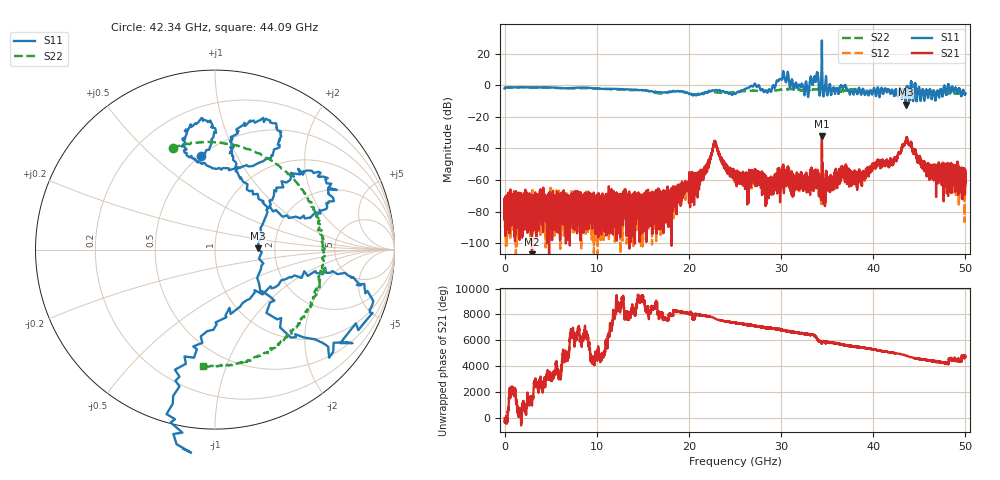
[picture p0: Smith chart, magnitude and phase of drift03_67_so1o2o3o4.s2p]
!Created with skrf (http://scikit-rf.org).
# Hz S RI R 50.0
!freq ReS11 ImS11 ReS21 ImS21 ReS12 ImS12 ReS22 ImS22
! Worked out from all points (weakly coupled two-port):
!   10000 points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, 5.3 MHz to 50 GHz, reference 50 ohm
!   highest |S21| = -32.28 dB at 34.43 GHz (marker M1); lowest = -118.6 dB at 2.975 GHz (marker M2)
!   lowest |S11| = -12.4 dB at 43.52 GHz (marker M3), VSWR 1.63, Z = 81.7 + j1.13 ohm
!   |S11| at or under -10 dB: 43.48347 GHz to 43.55598 GHz (72.51 MHz wide, 0.167 % of centre); 43.90001 GHz to 43.90018 GHz (170.9 kHz wide, 0.000389 % of centre); 44.31391 GHz to 44.31563 GHz (1.726 MHz wide, 0.0039 % of centre) (the widest 3 of 4)
!   |S22| runs from -5.9 to -1.3 dB; largest |S21 - S12| = 0.011
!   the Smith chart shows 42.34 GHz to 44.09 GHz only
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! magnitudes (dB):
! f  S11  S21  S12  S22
! 5.3 MHz  -2.1  -73.8  -74.1  -2.1
! 2.975 GHz  -1.4  -118.6  -70.4  -1.4
! 8.34 GHz  -1.5  -74.7  -73.0  -1.9
! 16.67 GHz  -4.4  -74.4  -73.8  -5.2
! 20.91 GHz  -6.0  -68.2  -60.7  -5.7
! 21.87 GHz  -4.6  -51.5  -51.6  -4.4
! 22.81 GHz  -3.5  -35.3  -35.4  -4.4
! 25.01 GHz  -5.5  -60.0  -57.8  -4.3
! 27.01 GHz  -0.5  -55.9  -57.5  -3.5
! 28.89 GHz  -4.2  -67.8  -63.1  -3.5
! 30.13 GHz  4.1  -55.3  -60.0  -2.7
! 32.74 GHz  2.0  -59.2  -60.0  -3.4
! 33.34 GHz  2.6  -63.5  -61.2  -2.9
! 33.82 GHz  4.0  -61.6  -59.9  -2.5
! 34.43 GHz  28.3  -32.3  -37.2  -2.3
! 35.37 GHz  -3.3  -58.0  -60.9  -2.7
! 36.81 GHz  -1.0  -55.2  -55.6  -3.3
! 38.47 GHz  -1.6  -54.0  -57.2  -3.0
! 41.67 GHz  -2.9  -50.3  -50.1  -3.7
! 43.52 GHz  -12.4  -35.3  -35.5  -4.3
! 46.33 GHz  -7.8  -53.5  -54.3  -5.5
! 50 GHz  -5.2  -57.5  -56.3  -5.0
